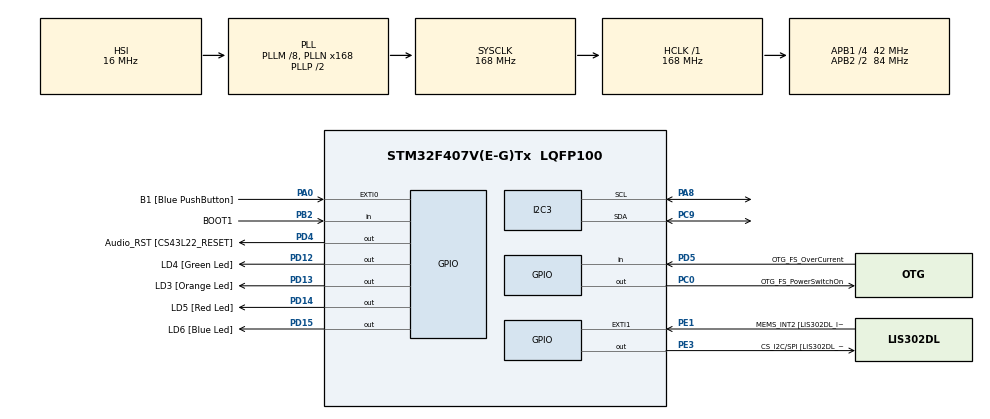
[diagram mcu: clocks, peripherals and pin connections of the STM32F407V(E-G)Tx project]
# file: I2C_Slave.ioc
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Dma.I2C3_RX.0.Direction=DMA_PERIPH_TO_MEMORY
Dma.I2C3_RX.0.FIFOMode=DMA_FIFOMODE_DISABLE
Dma.I2C3_RX.0.Instance=DMA1_Stream2
Dma.I2C3_RX.0.MemDataAlignment=DMA_MDATAALIGN_BYTE
Dma.I2C3_RX.0.MemInc=DMA_MINC_ENABLE
Dma.I2C3_RX.0.Mode=DMA_NORMAL
Dma.I2C3_RX.0.PeriphDataAlignment=DMA_PDATAALIGN_BYTE
Dma.I2C3_RX.0.PeriphInc=DMA_PINC_DISABLE
Dma.I2C3_RX.0.Priority=DMA_PRIORITY_LOW
Dma.Request0=I2C3_RX
Mcu.Family=STM32F4
Mcu.Name=STM32F407V(E-G)Tx
Mcu.Package=LQFP100
NVIC.DMA1_Stream2_IRQn=true\:0\:0\:false\:false\:true
NVIC.PriorityGroup=NVIC_PRIORITYGROUP_0
PA0-WKUP.GPIO_Label=B1 [Blue PushButton]
PA0-WKUP.GPIO_ModeDefaultEXTI=GPIO_MODE_EVT_RISING
PA0-WKUP.GPIO_PuPd=GPIO_NOPULL
PA0-WKUP.Signal=GPXTI0
PA10.GPIO_Label=OTG_FS_ID
PA10.GPIO_Mode=GPIO_MODE_AF_PP
PA10.GPIO_PuPd=GPIO_NOPULL
PA10.GPIO_Speed=GPIO_SPEED_FREQ_LOW
PA10.Signal=USB_OTG_FS_ID
PA11.GPIO_Label=OTG_FS_DM
PA11.GPIO_Mode=GPIO_MODE_AF_PP
PA11.GPIO_PuPd=GPIO_NOPULL
PA11.GPIO_Speed=GPIO_SPEED_FREQ_LOW
PA11.Signal=USB_OTG_FS_DM
PA12.GPIO_Label=OTG_FS_DP
PA12.GPIO_Mode=GPIO_MODE_AF_PP
PA12.GPIO_PuPd=GPIO_NOPULL
PA12.GPIO_Speed=GPIO_SPEED_FREQ_LOW
PA12.Signal=USB_OTG_FS_DP
PA13.GPIO_Label=SWDIO
PA13.Signal=SYS_JTMS-SWDIO
PA14.GPIO_Label=SWCLK
PA14.Signal=SYS_JTCK-SWCLK
PA4.GPIO_Label=I2S3_WS [CS43L22_LRCK]
PA4.GPIO_Mode=GPIO_MODE_AF_PP
PA4.GPIO_PuPd=GPIO_NOPULL
PA4.GPIO_Speed=GPIO_SPEED_FREQ_LOW
PA4.Signal=I2S3_WS
PA5.GPIO_Label=SPI1_SCK [LIS302DL_SCL/SPC]
PA5.GPIO_Mode=GPIO_MODE_AF_PP
PA5.GPIO_PuPd=GPIO_NOPULL
PA5.GPIO_Speed=GPIO_SPEED_FREQ_LOW
PA5.Signal=SPI1_SCK
PA6.GPIO_Label=SPI1_MISO [LIS302DL_SDO]
PA6.GPIO_Mode=GPIO_MODE_AF_PP
PA6.GPIO_PuPd=GPIO_NOPULL
PA6.GPIO_Speed=GPIO_SPEED_FREQ_LOW
PA6.Signal=SPI1_MISO
PA7.GPIO_Label=SPI1_MOSI [LIS302DL_SDA/SDI/SDO]
PA7.GPIO_Mode=GPIO_MODE_AF_PP
PA7.GPIO_PuPd=GPIO_NOPULL
PA7.GPIO_Speed=GPIO_SPEED_FREQ_LOW
PA7.Signal=SPI1_MOSI
PA8.Mode=I2C
PA8.Signal=I2C3_SCL
PA9.GPIO_Label=VBUS_FS
PA9.GPIO_Mode=GPIO_MODE_INPUT
PA9.GPIO_PuPd=GPIO_NOPULL
PA9.Signal=USB_OTG_FS_VBUS
PB10.GPIO_Label=CLK_IN [MP45DT02_CLK]
PB10.GPIO_Mode=GPIO_MODE_AF_PP
PB10.GPIO_PuPd=GPIO_NOPULL
PB10.GPIO_Speed=GPIO_SPEED_FREQ_LOW
PB10.Signal=I2S2_CK
PB2.GPIO_Label=BOOT1
PB2.GPIO_Mode=GPIO_MODE_INPUT
PB2.GPIO_PuPd=GPIO_NOPULL
PB2.Signal=GPIO_Input
PB3.GPIO_Label=SWO
PB3.Signal=SYS_JTDO-SWO
PB6.GPIO_Label=Audio_SCL [CS43L22_SCL]
PB6.GPIO_Mode=GPIO_MODE_AF_OD
PB6.GPIO_PuPd=GPIO_NOPULL
PB6.GPIO_Speed=GPIO_SPEED_FREQ_LOW
PB6.Signal=I2C1_SCL
PB9.GPIO_Label=Audio_SDA [CS43L22_SDA]
PB9.GPIO_Mode=GPIO_MODE_AF_OD
PB9.GPIO_PuPd=GPIO_NOPULL
PB9.GPIO_Speed=GPIO_SPEED_FREQ_LOW
PB9.Signal=I2C1_SDA
PC0.GPIO_Label=OTG_FS_PowerSwitchOn
PC0.GPIO_PuPd=GPIO_NOPULL
PC0.GPIO_Speed=GPIO_SPEED_FREQ_LOW
PC0.PinState=GPIO_PIN_SET
PC0.Signal=GPIO_Output
PC10.GPIO_Label=I2S3_SCK [CS43L22_SCLK]
PC10.GPIO_Mode=GPIO_MODE_AF_PP
PC10.GPIO_PuPd=GPIO_NOPULL
PC10.GPIO_Speed=GPIO_SPEED_FREQ_LOW
PC10.Signal=I2S3_CK
PC12.GPIO_Label=I2S3_SD [CS43L22_SDIN]
PC12.GPIO_Mode=GPIO_MODE_AF_PP
PC12.GPIO_PuPd=GPIO_NOPULL
PC12.GPIO_Speed=GPIO_SPEED_FREQ_LOW
PC12.Signal=I2S3_SD
PC14-OSC32_IN.GPIO_Label=PC14-OSC32_IN
PC14-OSC32_IN.Signal=RCC_OSC32_IN
PC15-OSC32_OUT.GPIO_Label=PC15-OSC32_OUT
PC15-OSC32_OUT.Signal=RCC_OSC32_OUT
PC3.GPIO_Label=PDM_OUT [MP45DT02_DOUT]
PC3.GPIO_Mode=GPIO_MODE_AF_PP
PC3.GPIO_PuPd=GPIO_NOPULL
PC3.GPIO_Speed=GPIO_SPEED_FREQ_LOW
PC3.Signal=I2S2_SD
PC7.GPIO_Label=I2S3_MCK [CS43L22_MCLK]
PC7.GPIO_Mode=GPIO_MODE_AF_PP
PC7.GPIO_PuPd=GPIO_NOPULL
PC7.GPIO_Speed=GPIO_SPEED_FREQ_LOW
PC7.Signal=I2S3_MCK
PC9.Mode=I2C
PC9.Signal=I2C3_SDA
PD12.GPIO_Label=LD4 [Green Led]
PD12.GPIO_PuPd=GPIO_NOPULL
PD12.GPIO_Speed=GPIO_SPEED_FREQ_LOW
PD12.Signal=GPIO_Output
PD13.GPIO_Label=LD3 [Orange Led]
PD13.GPIO_PuPd=GPIO_NOPULL
PD13.GPIO_Speed=GPIO_SPEED_FREQ_LOW
PD13.Signal=GPIO_Output
PD14.GPIO_Label=LD5 [Red Led]
PD14.GPIO_PuPd=GPIO_NOPULL
PD14.GPIO_Speed=GPIO_SPEED_FREQ_LOW
PD14.Signal=GPIO_Output
PD15.GPIO_Label=LD6 [Blue Led]
PD15.GPIO_PuPd=GPIO_NOPULL
PD15.GPIO_Speed=GPIO_SPEED_FREQ_LOW
PD15.Signal=GPIO_Output
PD4.GPIO_Label=Audio_RST [CS43L22_RESET]
PD4.GPIO_PuPd=GPIO_NOPULL
PD4.GPIO_Speed=GPIO_SPEED_FREQ_LOW
PD4.Signal=GPIO_Output
PD5.GPIO_Label=OTG_FS_OverCurrent
PD5.GPIO_Mode=GPIO_MODE_INPUT
PD5.GPIO_PuPd=GPIO_NOPULL
PD5.Signal=GPIO_Input
PE1.GPIO_Label=MEMS_INT2 [LIS302DL_INT2]
PE1.GPIO_ModeDefaultEXTI=GPIO_MODE_EVT_RISING
PE1.GPIO_PuPd=GPIO_NOPULL
PE1.Signal=GPXTI1
PE3.GPIO_Label=CS_I2C/SPI [LIS302DL_CS_I2C/SPI]
PE3.GPIO_PuPd=GPIO_NOPULL
PE3.GPIO_Speed=GPIO_SPEED_FREQ_LOW
PE3.Signal=GPIO_Output
PH0-OSC_IN.GPIO_Label=PH0-OSC_IN
PH0-OSC_IN.Signal=RCC_OSC_IN
PH1-OSC_OUT.GPIO_Label=PH1-OSC_OUT
PH1-OSC_OUT.Signal=RCC_OSC_OUT
ProjectManager.HeapSize=0x200
ProjectManager.StackSize=0x400
ProjectManager.TargetToolchain=TrueSTUDIO
RCC.48MHZClocksFreq_Value=48000000
RCC.AHBFreq_Value=168000000
RCC.APB1CLKDivider=RCC_HCLK_DIV4
RCC.APB1Freq_Value=42000000
RCC.APB1TimFreq_Value=84000000
RCC.APB2CLKDivider=RCC_HCLK_DIV2
RCC.APB2Freq_Value=84000000
RCC.APB2TimFreq_Value=168000000
RCC.CortexFreq_Value=168000000
RCC.HCLKFreq_Value=168000000
RCC.HSE_VALUE=8000000
RCC.HSI_VALUE=16000000
RCC.LSE_VALUE=32768
RCC.PLLM=8
RCC.PLLN=168
RCC.PLLQ=7
RCC.SYSCLKFreq_VALUE=168000000
RCC.SYSCLKSource=RCC_SYSCLKSOURCE_PLLCLK
RCC.VCOOutputFreq_Value=336000000
board=STM32F4DISCOVERY

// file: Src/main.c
/**
  ******************************************************************************
  * File Name          : main.c
  * Description        : Main program body
  ******************************************************************************
  *
  * COPYRIGHT(c) 2016 STMicroelectronics
  *
  * Redistribution and use in source and binary forms, with or without modification,
  * are permitted provided that the following conditions are met:
  *   1. Redistributions of source code must retain the above copyright notice,
  *      this list of conditions and the following disclaimer.
  *   2. Redistributions in binary form must reproduce the above copyright notice,
  *      this list of conditions and the following disclaimer in the documentation
  *      and/or other materials provided with the distribution.
  *   3. Neither the name of STMicroelectronics nor the names of its contributors
  *      may be used to endorse or promote products derived from this software
  *      without specific prior written permission.
  *
  * THIS SOFTWARE IS PROVIDED BY THE COPYRIGHT HOLDERS AND CONTRIBUTORS "AS IS"
  * AND ANY EXPRESS OR IMPLIED WARRANTIES, INCLUDING, BUT NOT LIMITED TO, THE
  * IMPLIED WARRANTIES OF MERCHANTABILITY AND FITNESS FOR A PARTICULAR PURPOSE ARE
  * DISCLAIMED. IN NO EVENT SHALL THE COPYRIGHT HOLDER OR CONTRIBUTORS BE LIABLE
  * FOR ANY DIRECT, INDIRECT, INCIDENTAL, SPECIAL, EXEMPLARY, OR CONSEQUENTIAL
  * DAMAGES (INCLUDING, BUT NOT LIMITED TO, PROCUREMENT OF SUBSTITUTE GOODS OR
  * SERVICES; LOSS OF USE, DATA, OR PROFITS; OR BUSINESS INTERRUPTION) HOWEVER
  * CAUSED AND ON ANY THEORY OF LIABILITY, WHETHER IN CONTRACT, STRICT LIABILITY,
  * OR TORT (INCLUDING NEGLIGENCE OR OTHERWISE) ARISING IN ANY WAY OUT OF THE USE
  * OF THIS SOFTWARE, EVEN IF ADVISED OF THE POSSIBILITY OF SUCH DAMAGE.
  *
  ******************************************************************************
  */
#include "stm32f4xx_hal.h"

I2C_HandleTypeDef hi2c3;
DMA_HandleTypeDef hdma_i2c3_rx;

/* USER CODE BEGIN PV */
/* Private variables ---------------------------------------------------------*/

/* USER CODE END PV */

void SystemClock_Config(void);
void Error_Handler(void);
static void MX_GPIO_Init(void);
static void MX_DMA_Init(void);
static void MX_I2C3_Init(void);

/* USER CODE BEGIN PFP */
/* Private function prototypes -----------------------------------------------*/

/* USER CODE END PFP */

int main(void)
{

  /* USER CODE BEGIN 1 */

	HAL_StatusTypeDef rx_status = HAL_ERROR;
	uint8_t rx_data[10] = {10, 10, 10, 10, 10, 10, 10, 10, 10, 10};
	uint8_t i = 0;

  /* USER CODE END 1 */

  /* MCU Configuration----------------------------------------------------------*/

  /* Reset of all peripherals, Initializes the Flash interface and the Systick. */
  HAL_Init();

  /* Configure the system clock */
  SystemClock_Config();

  /* Initialize all configured peripherals */
  MX_GPIO_Init();
  MX_DMA_Init();
  MX_I2C3_Init();

  /* USER CODE BEGIN 2 */

  rx_status = HAL_I2C_Slave_Receive_DMA(&hi2c3, rx_data, 10);

  if(rx_status == HAL_OK);

  /* USER CODE END 2 */

  /* Infinite loop */
  /* USER CODE BEGIN WHILE */
  while (1)
  {
		i %= 10;
		uint8_t temp = rx_data[i];
		if(temp / 8 == 1)
			HAL_GPIO_WritePin(GPIOD, LD3_Pin, GPIO_PIN_SET);
		else
			HAL_GPIO_WritePin(GPIOD, LD3_Pin, GPIO_PIN_RESET);
		temp %= 8;

		if(temp / 4 == 1)
			HAL_GPIO_WritePin(GPIOD, LD5_Pin, GPIO_PIN_SET);
		else
			HAL_GPIO_WritePin(GPIOD, LD5_Pin, GPIO_PIN_RESET);
		temp %= 4;

		if(temp / 2 == 1)
			HAL_GPIO_WritePin(GPIOD, LD6_Pin, GPIO_PIN_SET);
		else
			HAL_GPIO_WritePin(GPIOD, LD6_Pin, GPIO_PIN_RESET);
		temp %= 2;

		if(temp == 1)
			HAL_GPIO_WritePin(GPIOD, LD4_Pin, GPIO_PIN_SET);
		else
			HAL_GPIO_WritePin(GPIOD, LD4_Pin, GPIO_PIN_RESET);

		i++;

		HAL_Delay(500u);
  /* USER CODE END WHILE */

  }

}

/** System Clock Configuration
*/
void SystemClock_Config(void)
{

  RCC_OscInitTypeDef RCC_OscInitStruct;
  RCC_ClkInitTypeDef RCC_ClkInitStruct;

  __HAL_RCC_PWR_CLK_ENABLE();

  __HAL_PWR_VOLTAGESCALING_CONFIG(PWR_REGULATOR_VOLTAGE_SCALE1);

  RCC_OscInitStruct.OscillatorType = RCC_OSCILLATORTYPE_HSI;
  RCC_OscInitStruct.HSIState = RCC_HSI_ON;
  RCC_OscInitStruct.HSICalibrationValue = 16;
  RCC_OscInitStruct.PLL.PLLState = RCC_PLL_ON;
  RCC_OscInitStruct.PLL.PLLSource = RCC_PLLSOURCE_HSI;
  RCC_OscInitStruct.PLL.PLLM = 8;
  RCC_OscInitStruct.PLL.PLLN = 168;
  RCC_OscInitStruct.PLL.PLLP = RCC_PLLP_DIV2;
  RCC_OscInitStruct.PLL.PLLQ = 7;
  if (HAL_RCC_OscConfig(&RCC_OscInitStruct) != HAL_OK)
  {
    Error_Handler();
  }

  RCC_ClkInitStruct.ClockType = RCC_CLOCKTYPE_HCLK|RCC_CLOCKTYPE_SYSCLK
                              |RCC_CLOCKTYPE_PCLK1|RCC_CLOCKTYPE_PCLK2;
  RCC_ClkInitStruct.SYSCLKSource = RCC_SYSCLKSOURCE_PLLCLK;
  RCC_ClkInitStruct.AHBCLKDivider = RCC_SYSCLK_DIV1;
  RCC_ClkInitStruct.APB1CLKDivider = RCC_HCLK_DIV4;
  RCC_ClkInitStruct.APB2CLKDivider = RCC_HCLK_DIV2;
  if (HAL_RCC_ClockConfig(&RCC_ClkInitStruct, FLASH_LATENCY_5) != HAL_OK)
  {
    Error_Handler();
  }

  HAL_SYSTICK_Config(HAL_RCC_GetHCLKFreq()/1000);

  HAL_SYSTICK_CLKSourceConfig(SYSTICK_CLKSOURCE_HCLK);

  /* SysTick_IRQn interrupt configuration */
  HAL_NVIC_SetPriority(SysTick_IRQn, 0, 0);
}

/* I2C3 init function */
static void MX_I2C3_Init(void)
{

  hi2c3.Instance = I2C3;
  hi2c3.Init.ClockSpeed = 100000;
  hi2c3.Init.DutyCycle = I2C_DUTYCYCLE_2;
  hi2c3.Init.OwnAddress1 = 0x33;
  hi2c3.Init.AddressingMode = I2C_ADDRESSINGMODE_7BIT;
  hi2c3.Init.DualAddressMode = I2C_DUALADDRESS_DISABLE;
  hi2c3.Init.OwnAddress2 = 0;
  hi2c3.Init.GeneralCallMode = I2C_GENERALCALL_DISABLE;
  hi2c3.Init.NoStretchMode = I2C_NOSTRETCH_DISABLE;
  if (HAL_I2C_Init(&hi2c3) != HAL_OK)
  {
    Error_Handler();
  }

}

static void MX_DMA_Init(void)
{
  /* DMA controller clock enable */
  __HAL_RCC_DMA1_CLK_ENABLE();

  /* DMA interrupt init */
  /* DMA1_Stream2_IRQn interrupt configuration */
  HAL_NVIC_SetPriority(DMA1_Stream2_IRQn, 0, 0);
  HAL_NVIC_EnableIRQ(DMA1_Stream2_IRQn);

}

/** Configure pins as
        * Analog
        * Input
        * Output
        * EVENT_OUT
        * EXTI
     PC3   ------> I2S2_SD
     PA4   ------> I2S3_WS
     PA5   ------> SPI1_SCK
     PA6   ------> SPI1_MISO
     PA7   ------> SPI1_MOSI
     PB10   ------> I2S2_CK
     PC7   ------> I2S3_MCK
     PA9   ------> USB_OTG_FS_VBUS
     PA10   ------> USB_OTG_FS_ID
     PA11   ------> USB_OTG_FS_DM
     PA12   ------> USB_OTG_FS_DP
     PC10   ------> I2S3_CK
     PC12   ------> I2S3_SD
     PB6   ------> I2C1_SCL
     PB9   ------> I2C1_SDA
*/
static void MX_GPIO_Init(void)
{

  GPIO_InitTypeDef GPIO_InitStruct;

  /* GPIO Ports Clock Enable */
  __HAL_RCC_GPIOE_CLK_ENABLE();
  __HAL_RCC_GPIOC_CLK_ENABLE();
  __HAL_RCC_GPIOH_CLK_ENABLE();
  __HAL_RCC_GPIOA_CLK_ENABLE();
  __HAL_RCC_GPIOB_CLK_ENABLE();
  __HAL_RCC_GPIOD_CLK_ENABLE();

  /*Configure GPIO pin Output Level */
  HAL_GPIO_WritePin(CS_I2C_SPI_GPIO_Port, CS_I2C_SPI_Pin, GPIO_PIN_RESET);

  /*Configure GPIO pin Output Level */
  HAL_GPIO_WritePin(OTG_FS_PowerSwitchOn_GPIO_Port, OTG_FS_PowerSwitchOn_Pin, GPIO_PIN_SET);

  /*Configure GPIO pin Output Level */
  HAL_GPIO_WritePin(GPIOD, LD4_Pin|LD3_Pin|LD5_Pin|LD6_Pin
                          |Audio_RST_Pin, GPIO_PIN_RESET);

  /*Configure GPIO pin : CS_I2C_SPI_Pin */
  GPIO_InitStruct.Pin = CS_I2C_SPI_Pin;
  GPIO_InitStruct.Mode = GPIO_MODE_OUTPUT_PP;
  GPIO_InitStruct.Pull = GPIO_NOPULL;
  GPIO_InitStruct.Speed = GPIO_SPEED_FREQ_LOW;
  HAL_GPIO_Init(CS_I2C_SPI_GPIO_Port, &GPIO_InitStruct);

  /*Configure GPIO pin : OTG_FS_PowerSwitchOn_Pin */
  GPIO_InitStruct.Pin = OTG_FS_PowerSwitchOn_Pin;
  GPIO_InitStruct.Mode = GPIO_MODE_OUTPUT_PP;
  GPIO_InitStruct.Pull = GPIO_NOPULL;
  GPIO_InitStruct.Speed = GPIO_SPEED_FREQ_LOW;
  HAL_GPIO_Init(OTG_FS_PowerSwitchOn_GPIO_Port, &GPIO_InitStruct);

  /*Configure GPIO pin : PDM_OUT_Pin */
  GPIO_InitStruct.Pin = PDM_OUT_Pin;
  GPIO_InitStruct.Mode = GPIO_MODE_AF_PP;
  GPIO_InitStruct.Pull = GPIO_NOPULL;
  GPIO_InitStruct.Speed = GPIO_SPEED_FREQ_LOW;
  GPIO_InitStruct.Alternate = GPIO_AF5_SPI2;
  HAL_GPIO_Init(PDM_OUT_GPIO_Port, &GPIO_InitStruct);

  /*Configure GPIO pin : B1_Pin */
  GPIO_InitStruct.Pin = B1_Pin;
  GPIO_InitStruct.Mode = GPIO_MODE_EVT_RISING;
  GPIO_InitStruct.Pull = GPIO_NOPULL;
  HAL_GPIO_Init(B1_GPIO_Port, &GPIO_InitStruct);

  /*Configure GPIO pin : PA4 */
  GPIO_InitStruct.Pin = GPIO_PIN_4;
  GPIO_InitStruct.Mode = GPIO_MODE_AF_PP;
  GPIO_InitStruct.Pull = GPIO_NOPULL;
  GPIO_InitStruct.Speed = GPIO_SPEED_FREQ_LOW;
  GPIO_InitStruct.Alternate = GPIO_AF6_SPI3;
  HAL_GPIO_Init(GPIOA, &GPIO_InitStruct);

  /*Configure GPIO pins : PA5 PA6 PA7 */
  GPIO_InitStruct.Pin = GPIO_PIN_5|GPIO_PIN_6|GPIO_PIN_7;
  GPIO_InitStruct.Mode = GPIO_MODE_AF_PP;
  GPIO_InitStruct.Pull = GPIO_NOPULL;
  GPIO_InitStruct.Speed = GPIO_SPEED_FREQ_LOW;
  GPIO_InitStruct.Alternate = GPIO_AF5_SPI1;
  HAL_GPIO_Init(GPIOA, &GPIO_InitStruct);

  /*Configure GPIO pin : BOOT1_Pin */
  GPIO_InitStruct.Pin = BOOT1_Pin;
  GPIO_InitStruct.Mode = GPIO_MODE_INPUT;
  GPIO_InitStruct.Pull = GPIO_NOPULL;
  HAL_GPIO_Init(BOOT1_GPIO_Port, &GPIO_InitStruct);

  /*Configure GPIO pin : CLK_IN_Pin */
  GPIO_InitStruct.Pin = CLK_IN_Pin;
  GPIO_InitStruct.Mode = GPIO_MODE_AF_PP;
  GPIO_InitStruct.Pull = GPIO_NOPULL;
  GPIO_InitStruct.Speed = GPIO_SPEED_FREQ_LOW;
  GPIO_InitStruct.Alternate = GPIO_AF5_SPI2;
  HAL_GPIO_Init(CLK_IN_GPIO_Port, &GPIO_InitStruct);

  /*Configure GPIO pins : LD4_Pin LD3_Pin LD5_Pin LD6_Pin
                           Audio_RST_Pin */
  GPIO_InitStruct.Pin = LD4_Pin|LD3_Pin|LD5_Pin|LD6_Pin
                          |Audio_RST_Pin;
  GPIO_InitStruct.Mode = GPIO_MODE_OUTPUT_PP;
  GPIO_InitStruct.Pull = GPIO_NOPULL;
  GPIO_InitStruct.Speed = GPIO_SPEED_FREQ_LOW;
  HAL_GPIO_Init(GPIOD, &GPIO_InitStruct);

  /*Configure GPIO pins : PC7 I2S3_SCK_Pin PC12 */
  GPIO_InitStruct.Pin = GPIO_PIN_7|I2S3_SCK_Pin|GPIO_PIN_12;
  GPIO_InitStruct.Mode = GPIO_MODE_AF_PP;
  GPIO_InitStruct.Pull = GPIO_NOPULL;
  GPIO_InitStruct.Speed = GPIO_SPEED_FREQ_LOW;
  GPIO_InitStruct.Alternate = GPIO_AF6_SPI3;
  HAL_GPIO_Init(GPIOC, &GPIO_InitStruct);

  /*Configure GPIO pin : VBUS_FS_Pin */
  GPIO_InitStruct.Pin = VBUS_FS_Pin;
  GPIO_InitStruct.Mode = GPIO_MODE_INPUT;
  GPIO_InitStruct.Pull = GPIO_NOPULL;
  HAL_GPIO_Init(VBUS_FS_GPIO_Port, &GPIO_InitStruct);

  /*Configure GPIO pins : OTG_FS_ID_Pin OTG_FS_DM_Pin OTG_FS_DP_Pin */
  GPIO_InitStruct.Pin = OTG_FS_ID_Pin|OTG_FS_DM_Pin|OTG_FS_DP_Pin;
  GPIO_InitStruct.Mode = GPIO_MODE_AF_PP;
  GPIO_InitStruct.Pull = GPIO_NOPULL;
  GPIO_InitStruct.Speed = GPIO_SPEED_FREQ_LOW;
  GPIO_InitStruct.Alternate = GPIO_AF10_OTG_FS;
  HAL_GPIO_Init(GPIOA, &GPIO_InitStruct);

  /*Configure GPIO pin : OTG_FS_OverCurrent_Pin */
  GPIO_InitStruct.Pin = OTG_FS_OverCurrent_Pin;
  GPIO_InitStruct.Mode = GPIO_MODE_INPUT;
  GPIO_InitStruct.Pull = GPIO_NOPULL;
  HAL_GPIO_Init(OTG_FS_OverCurrent_GPIO_Port, &GPIO_InitStruct);

  /*Configure GPIO pins : Audio_SCL_Pin Audio_SDA_Pin */
  GPIO_InitStruct.Pin = Audio_SCL_Pin|Audio_SDA_Pin;
  GPIO_InitStruct.Mode = GPIO_MODE_AF_OD;
  GPIO_InitStruct.Pull = GPIO_PULLUP;
  GPIO_InitStruct.Speed = GPIO_SPEED_FREQ_LOW;
  GPIO_InitStruct.Alternate = GPIO_AF4_I2C1;
  HAL_GPIO_Init(GPIOB, &GPIO_InitStruct);

  /*Configure GPIO pin : MEMS_INT2_Pin */
  GPIO_InitStruct.Pin = MEMS_INT2_Pin;
  GPIO_InitStruct.Mode = GPIO_MODE_EVT_RISING;
  GPIO_InitStruct.Pull = GPIO_NOPULL;
  HAL_GPIO_Init(MEMS_INT2_GPIO_Port, &GPIO_InitStruct);

}

void Error_Handler(void)
{
  while(1)
  {
  }
}

/************************ (C) COPYRIGHT STMicroelectronics *****END OF FILE****/
